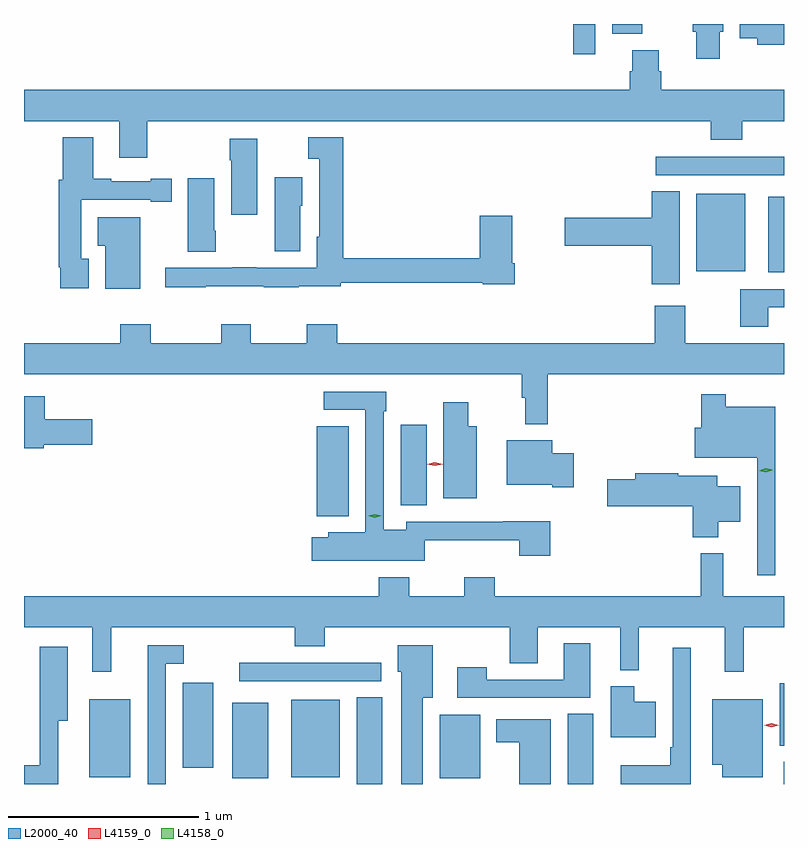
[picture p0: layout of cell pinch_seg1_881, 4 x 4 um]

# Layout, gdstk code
import gdstk
lib = gdstk.Library(unit=1e-6, precision=1e-09)
def R(c, l, rs):  # rectangles x0, y0, x1, y1
    for r in rs: c.add(gdstk.rectangle(r[:2], r[2:], *l))
def P(c, l, *ps):  # polygons
    for p in ps: c.add(gdstk.Polygon(p, *l))
L2000_40 = (2000, 40)
L4158_0 = (4158, 0)
L4159_0 = (4159, 0)

pinch_seg1_881 = lib.new_cell('pinch_seg1_881')
R(pinch_seg1_881, L2000_40, [(544.082,522.935,544.216,523.391), (545.192,522.935,545.326,523.304), (546.329,522.935,546.331,523.051), (543.428,522.965,543.616,523.363), (544.52,522.965,544.732,523.3), (542.675,522.971,542.89,523.381), (543.737,522.971,543.994,523.378), (543.167,523.02,543.328,523.468), (546.308,523.136,546.331,523.465), (543.465,523.476,544.21,523.572), (543.872,524.345,544.039,524.819), (544.313,524.401,544.45,524.827), (546.248,525.629,546.331,526.027), (545.87,525.635,546.127,526.042), (545.655,526.14,546.331,526.236), (545.221,526.776,545.337,526.935), (545.426,526.883,545.584,526.935)])
P(pinch_seg1_881, L2000_40, [(546.331,526.935),(546.099,526.935),(546.099,526.86),(546.191,526.86),(546.191,526.826),(546.331,526.826)],
  [(545.992,526.893),(546.01,526.893),(546.01,526.935),(545.852,526.935),(545.852,526.893),(545.87,526.893),(545.87,526.752),(545.992,526.752)],
  [(542.979,526.424),(545.945,526.424),(545.945,526.325),(546.11,526.325),(546.11,526.424),(546.331,526.424),(546.331,526.588),(545.684,526.588),(545.684,526.686),(545.671,526.686),(545.671,526.798),(545.531,526.798),(545.531,526.686),(545.519,526.686),(545.519,526.588),(542.331,526.588),(542.331,526.424),(542.831,526.424),(542.831,526.23),(542.979,526.23)],
  [(543.287,525.554),(543.593,525.554),(543.593,525.55),(543.776,525.55),(543.776,525.554),(543.997,525.554),(543.997,525.573),(544.746,525.573),(544.746,525.565),(544.913,525.565),(544.913,525.676),(544.9,525.676),(544.9,525.925),(544.73,525.925),(544.73,525.701),(544.01,525.701),(544.01,526.339),(543.828,526.339),(543.828,526.226),(543.884,526.226),(543.884,525.816),(543.872,525.816),(543.872,525.651),(543.554,525.651),(543.554,525.656),(543.427,525.656),(543.427,525.651),(543.075,525.651),(543.075,525.55),(543.287,525.55)],
  [(542.671,525.699),(542.631,525.699),(542.631,526.011),(542.999,526.011),(542.999,525.999),(543.109,525.999),(543.109,526.12),(542.999,526.12),(542.999,526.107),(542.791,526.107),(542.791,526.12),(542.695,526.12),(542.695,526.339),(542.534,526.339),(542.534,526.114),(542.515,526.114),(542.515,525.655),(542.523,525.655),(542.523,525.543),(542.671,525.543)],
  [(543.559,526.33),(543.415,526.33),(543.415,526.217),(543.422,526.217),(543.422,525.93),(543.559,525.93)],
  [(543.784,525.978),(543.796,525.978),(543.796,526.129),(543.65,526.129),(543.65,525.74),(543.784,525.74)],
  [(543.339,525.847),(543.331,525.847),(543.331,526.123),(543.194,526.123),(543.194,525.736),(543.339,525.736)],
  [(545.782,526.055),(545.636,526.055),(545.636,525.914),(545.178,525.914),(545.178,525.767),(545.636,525.767),(545.636,525.564),(545.782,525.564)],
  [(542.944,525.919),(542.72,525.919),(542.72,525.767),(542.759,525.767),(542.759,525.542),(542.944,525.542)],
  [(546.247,525.444),(546.331,525.444),(546.331,525.54),(546.1,525.54),(546.1,525.342),(546.247,525.342)],
  [(545.087,525.092),(546.331,525.092),(546.331,525.256),(545.811,525.256),(545.811,525.451),(545.651,525.451),(545.651,525.256),(543.98,525.256),(543.98,525.355),(543.82,525.355),(543.82,525.256),(543.525,525.256),(543.525,525.355),(543.37,525.355),(543.37,525.256),(542.997,525.256),(542.997,525.355),(542.837,525.355),(542.837,525.256),(542.331,525.256),(542.331,525.092),(544.951,525.092),(544.951,524.969),(544.969,524.969),(544.969,524.829),(545.087,524.829)],
  [(544.44,524.219),(544.937,524.219),(544.937,524.136),(545.102,524.136),(545.102,524.318),(544.853,524.318),(544.853,524.316),(544.344,524.316),(544.344,524.272),(544.224,524.272),(544.224,524.897),(544.237,524.897),(544.237,525),(543.909,525),(543.909,524.904),(544.128,524.904),(544.128,524.26),(543.933,524.26),(543.933,524.233),(543.846,524.233),(543.846,524.111),(544.44,524.111)],
  [(546.286,524.92),(546.025,524.92),(546.025,524.986),(545.896,524.986),(545.896,524.809),(545.862,524.809),(545.862,524.651),(546.189,524.651),(546.189,524.034),(546.286,524.034)],
  [(542.436,524.72),(542.689,524.72),(542.689,524.854),(542.44,524.854),(542.44,524.977),(542.331,524.977),(542.331,524.702),(542.436,524.702)],
  [(544.714,524.818),(544.668,524.818),(544.668,524.944),(544.538,524.944),(544.538,524.438),(544.714,524.438)],
  [(545.224,524.676),(545.11,524.676),(545.11,524.743),(544.871,524.743),(544.871,524.51),(545.111,524.51),(545.111,524.498),(545.224,524.498)],
  [(545.986,524.315),(546.1,524.315),(546.1,524.503),(545.98,524.503),(545.98,524.557),(545.774,524.557),(545.774,524.57),(545.549,524.57),(545.549,524.54),(545.4,524.54),(545.4,524.398),(545.852,524.398),(545.852,524.234),(545.986,524.234)],
  [(544.808,524.023),(544.648,524.023),(544.648,523.924),(544.359,523.924),(544.359,524.023),(544.199,524.023),(544.199,523.924),(542.331,523.924),(542.331,523.76),(542.69,523.76),(542.69,523.527),(542.789,523.527),(542.789,523.76),(543.755,523.76),(543.755,523.661),(543.915,523.661),(543.915,523.76),(544.888,523.76),(544.888,523.57),(545.035,523.57),(545.035,523.76),(545.468,523.76),(545.468,523.535),(545.567,523.535),(545.567,523.76),(546.02,523.76),(546.02,523.527),(546.12,523.527),(546.12,523.76),(546.331,523.76),(546.331,523.924),(546.011,523.924),(546.011,524.149),(545.893,524.149),(545.893,523.924),(544.808,523.924)],
  [(545.311,523.675),(545.171,523.675),(545.171,523.485),(544.767,523.485),(544.767,523.549),(544.611,523.549),(544.611,523.389),(545.311,523.389)],
  [(544.429,523.388),(544.483,523.388),(544.483,523.666),(544.298,523.666),(544.298,523.527),(544.316,523.527),(544.316,522.935),(544.429,522.935)],
  [(543.078,523.569),(543.172,523.569),(543.172,523.665),(542.982,523.665),(542.982,522.935),(543.078,522.935)],
  [(542.512,523.268),(542.56,523.268),(542.56,523.657),(542.414,523.657),(542.414,523.033),(542.331,523.033),(542.331,522.935),(542.512,522.935)],
  [(545.841,523.651),(545.745,523.651),(545.745,523.129),(545.733,523.129),(545.733,523.033),(545.471,523.033),(545.471,522.935),(545.841,522.935)],
  [(545.656,523.369),(545.542,523.369),(545.542,523.45),(545.42,523.45),(545.42,523.181),(545.656,523.181)],
  [(546.22,523.381),(545.954,523.381),(545.954,523.037),(546.005,523.037),(546.005,522.971),(546.22,522.971)],
  [(545.104,523.276),(544.817,523.276),(544.817,523.154),(544.937,523.154),(544.937,522.935),(545.104,522.935)])
P(pinch_seg1_881, L4158_0, [(544.176,524.336),(544.142,524.346),(544.141,524.346),(544.142,524.346),(544.176,524.356),(544.211,524.347),(544.211,524.347),(544.211,524.346)],
  [(546.235,524.576),(546.2,524.584),(546.2,524.584),(546.2,524.584),(546.234,524.596),(546.27,524.588),(546.27,524.587),(546.27,524.587)])
P(pinch_seg1_881, L4159_0, [(544.493,524.609),(544.453,524.618),(544.453,524.618),(544.453,524.618),(544.493,524.629),(544.534,524.619),(544.534,524.619),(544.534,524.619)],
  [(546.265,523.235),(546.226,523.244),(546.226,523.245),(546.226,523.245),(546.265,523.255),(546.304,523.245),(546.304,523.245),(546.304,523.245)])

lib.write_gds('pinch_seg1_881.gds')
